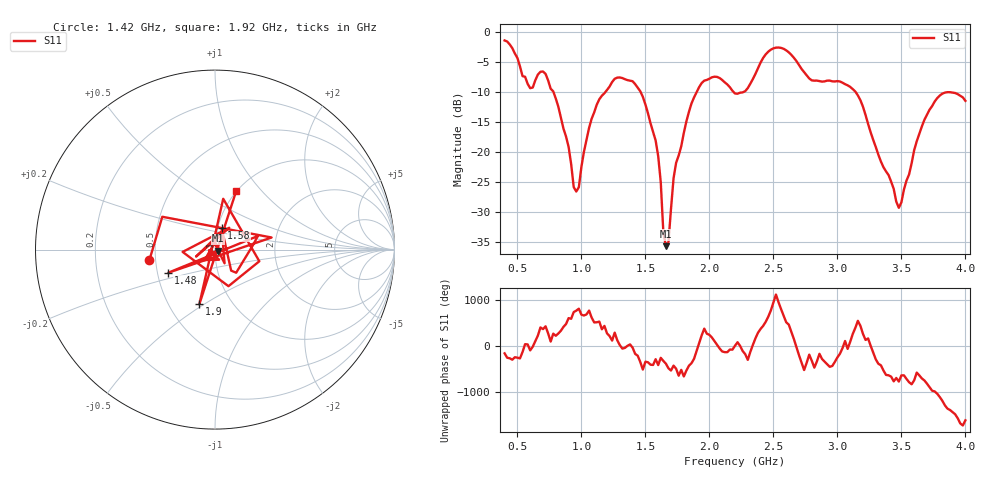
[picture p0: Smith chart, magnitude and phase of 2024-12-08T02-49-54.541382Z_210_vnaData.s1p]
!Created with skrf (http://scikit-rf.org).
# Hz S RI R 50.0
!freq ReS11 ImS11
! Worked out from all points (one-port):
!   181 points, 400 MHz to 4 GHz, reference 50 ohm
!   lowest |S11| = -35.6 dB at 1.66 GHz (marker M1), VSWR 1.03, Z = 51.5 - j0.693 ohm
!   |S11| at or under -10 dB: 782.6 MHz to 1.185 GHz (402.9 MHz wide, 40.9 % of centre); 1.464 GHz to 1.899 GHz (435.5 MHz wide, 25.9 % of centre); 3.144 GHz to 3.854 GHz (709.7 MHz wide, 20.3 % of centre) (the widest 3 of 5)
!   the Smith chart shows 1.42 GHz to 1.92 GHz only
!   S11 on the Smith chart (normalised r, x): 1.42 GHz: 0.46, -0.06; 1.48 GHz: 0.57, -0.16; 1.58 GHz: 1.05, +0.25; 1.9 GHz: 0.70, -0.48; 1.92 GHz: 0.99, +0.74
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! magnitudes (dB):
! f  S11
! 400 MHz  -1.4
! 600 MHz  -9.3
! 720 MHz  -6.9
! 860 MHz  -16.1
! 960 MHz  -26.5
! 1.12 GHz  -12.1
! 1.3 GHz  -7.5
! 1.42 GHz  -8.6
! 1.48 GHz  -10.7
! 1.58 GHz  -18.0
! 1.64 GHz  -33.2
! 1.66 GHz  -35.6
! 1.68 GHz  -35.0
! 1.72 GHz  -24.3
! 1.76 GHz  -20.5
! 1.9 GHz  -10.0
! 1.92 GHz  -9.1
! 2.06 GHz  -7.4
! 2.2 GHz  -10.2
! 2.48 GHz  -2.9
! 2.66 GHz  -4.2
! 2.8 GHz  -8.0
! 3.1 GHz  -9.1
! 3.48 GHz  -29.2
! 3.56 GHz  -23.7
! 3.66 GHz  -15.7
! 3.78 GHz  -11.0
! 4 GHz  -11.4
